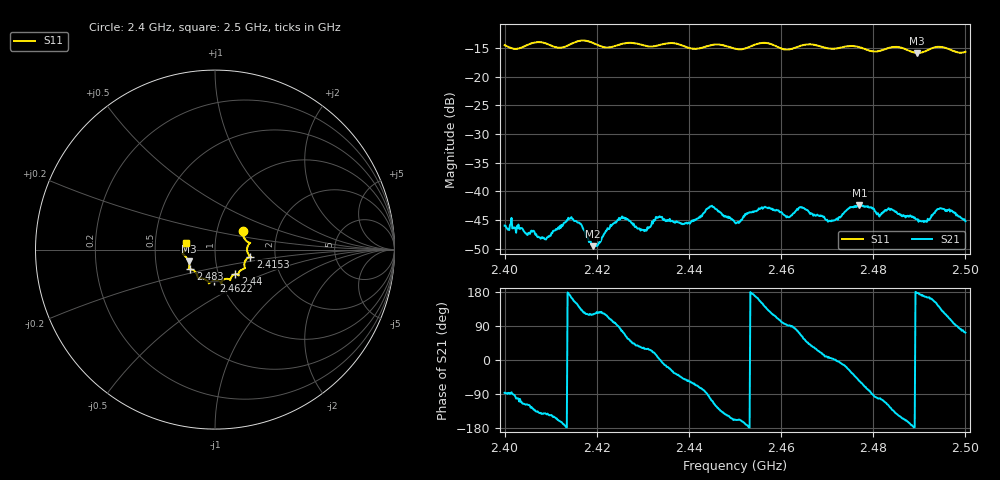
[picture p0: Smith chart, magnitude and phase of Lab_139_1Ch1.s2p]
# Hz S RI R 50
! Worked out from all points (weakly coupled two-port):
!   601 points, 2.4 GHz to 2.5 GHz, reference 50 ohm
!   highest |S21| = -42.36 dB at 2.477 GHz (marker M1); lowest = -49.6 dB at 2.4192 GHz (marker M2)
!   lowest |S11| = -15.9 dB at 2.4895 GHz (marker M3), VSWR 1.38, Z = 36.9 - j5.01 ohm
!   |S11| at or under -10 dB: start of sweep to end of sweep
!   S12 and S22 are empty: the file has one direction only
!   S11 on the Smith chart (normalised r, x): 2.4 GHz: 1.33, +0.29; 2.4153 GHz: 1.48, -0.12; 2.44 GHz: 1.20, -0.34; 2.4622 GHz: 0.93, -0.33; 2.483 GHz: 0.74, -0.17; 2.5 GHz: 0.72, +0.06
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2.4e9  0.155 0.1064  0.000302 -0.00502  0 0  0 0
2.408833e9  0.1924 0.0345  -0.00297 -0.00241  0 0  0 0
2.415333e9  0.1963 -0.0386  -0.00488 0.00256  0 0  0 0
2.416667e9  0.2019 -0.0426  -0.00339 0.00382  0 0  0 0
2.419167e9  0.1921 -0.0425  -0.00166 0.00288  0 0  0 0
2.425e9  0.165 -0.0957  0.000646 0.00561  0 0  0 0
2.430333e9  0.1497 -0.1114  0.00392 0.0022  0 0  0 0
2.433333e9  0.1311 -0.1337  0.00588 0.000629  0 0  0 0
2.44e9  0.114 -0.1367  0.00301 -0.00443  0 0  0 0
2.445e9  0.0847 -0.1686  -0.00227 -0.00714  0 0  0 0
2.45e9  0.0646 -0.1627  -0.00493 -0.00205  0 0  0 0
2.456167e9  0.0385 -0.1931  -0.0059 0.00412  0 0  0 0
2.462167e9  -0.00724 -0.1738  0.0002 0.00615  0 0  0 0
2.464333e9  -0.0291 -0.1841  0.00304 0.00656  0 0  0 0
2.466667e9  -0.0342 -0.1877  0.0051 0.00384  0 0  0 0
2.471167e9  -0.0603 -0.1642  0.00553 0.000335  0 0  0 0
2.477e9  -0.096 -0.1529  0.00427 -0.00631  0 0  0 0
2.483e9  -0.1375 -0.1097  -0.00311 -0.00617  0 0  0 0
2.483333e9  -0.1401 -0.1094  -0.00356 -0.00617  0 0  0 0
2.4895e9  -0.1464 -0.0661  -0.00568 0.000278  0 0  0 0
2.494833e9  -0.1801 -0.0202  -0.00473 0.00525  0 0  0 0
2.5e9  -0.1598 0.0391  0.00167 0.00522  0 0  0 0
